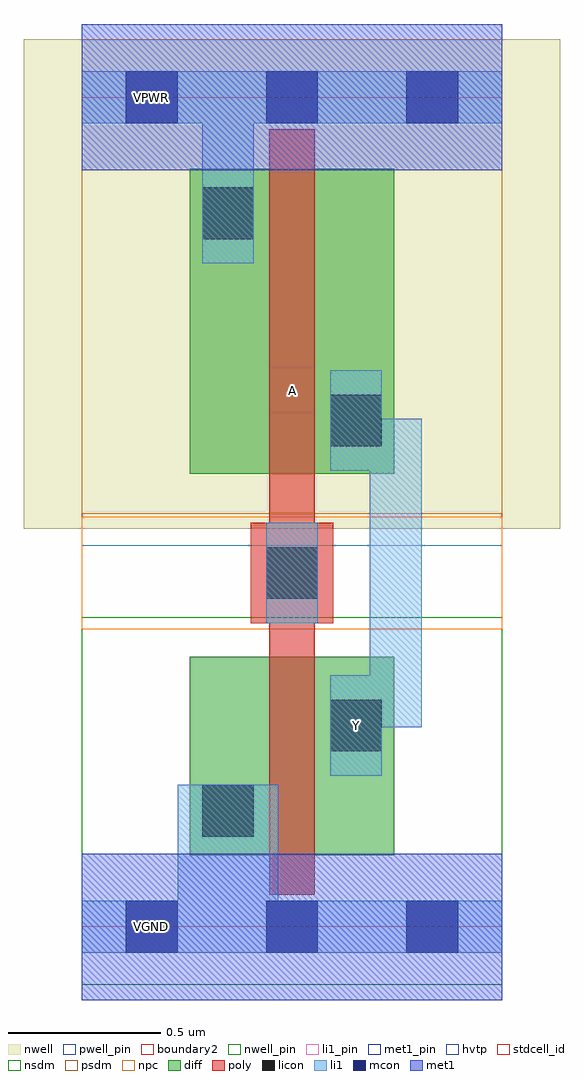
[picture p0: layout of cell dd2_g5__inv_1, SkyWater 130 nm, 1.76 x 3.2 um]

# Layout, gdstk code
import gdstk
lib = gdstk.Library(unit=1e-6, precision=1e-09)
def R(c, l, rs):  # rectangles x0, y0, x1, y1
    for r in rs: c.add(gdstk.rectangle(r[:2], r[2:], *l))
def A(c, l, x, y, w, h, nx, ny, dx, dy):  # array of equal rectangles
    R(c, l, [(x+i*dx, y+j*dy, x+i*dx+w, y+j*dy+h) for i in range(nx) for j in range(ny)])
nwell_pin = (64, 16)
nwell = (64, 20)
diff = (65, 20)
poly = (66, 20)
licon = (66, 44)
li1_pin = (67, 16)
li1 = (67, 20)
mcon = (67, 44)
met1_pin = (68, 16)
met1 = (68, 20)
hvtp = (78, 44)
stdcell_id = (81, 4)
nsdm = (93, 44)
psdm = (94, 20)
npc = (95, 20)
pwell_pin = (122, 16)
boundary2 = (236, 0)

dd2_g5__inv_1 = lib.new_cell('dd2_g5__inv_1')
R(dd2_g5__inv_1, nwell_pin, [(0.145,2.635,0.315,2.805)])
R(dd2_g5__inv_1, nwell, [(-0.19,1.305,1.57,2.91)])
R(dd2_g5__inv_1, diff, [(0.355,0.235,1.025,0.885), (0.355,1.485,1.025,2.485)])
R(dd2_g5__inv_1, poly, [(0.615,0.105,0.765,2.615), (0.555,0.995,0.825,1.325)])
R(dd2_g5__inv_1, licon, [(0.395,0.295,0.565,0.465), (0.815,0.575,0.985,0.745), (0.605,1.075,0.775,1.245), (0.815,1.575,0.985,1.745), (0.395,2.255,0.565,2.425)])
R(dd2_g5__inv_1, li1_pin, [(0.145,-0.085,0.315,0.085), (0.825,0.585,0.975,0.735), (0.615,1.685,0.765,1.835), (0.145,2.635,0.315,2.805)])
R(dd2_g5__inv_1, li1, [(0,-0.085,1.38,0.085), (0.315,0.085,0.645,0.465), (0.815,0.495,0.985,0.655), (0.815,0.655,1.115,0.825), (0.945,0.825,1.115,1.495), (0.605,0.995,0.775,1.325), (0.815,1.495,1.115,1.665), (0.815,1.665,0.985,1.825), (0.395,2.175,0.565,2.635), (0,2.635,1.38,2.805)])
A(dd2_g5__inv_1, mcon, 0.145, -0.085, 0.17, 0.17, 3, 2, 0.46, 2.72)
R(dd2_g5__inv_1, met1_pin, [(0.145,-0.085,0.315,0.085), (0.145,2.635,0.315,2.805)])
R(dd2_g5__inv_1, met1, [(0,-0.24,1.38,0.24), (0,2.48,1.38,2.96)])
R(dd2_g5__inv_1, hvtp, [(0,1.25,1.38,2.72)])
R(dd2_g5__inv_1, stdcell_id, [(0,0,1.38,2.72)])
R(dd2_g5__inv_1, nsdm, [(0,-0.19,1.38,1.015)])
R(dd2_g5__inv_1, psdm, [(0,1.355,1.38,2.91)])
R(dd2_g5__inv_1, npc, [(0,0.975,1.38,1.345)])
R(dd2_g5__inv_1, pwell_pin, [(0.145,-0.085,0.315,0.085)])
R(dd2_g5__inv_1, boundary2, [(0,0,1.38,2.72)])
dd2_g5__inv_1.add(gdstk.Label('VPWR', (0.23,2.72), layer=68, texttype=5))
dd2_g5__inv_1.add(gdstk.Label('VGND', (0.23,0), layer=68, texttype=5))
dd2_g5__inv_1.add(gdstk.Label('A', (0.69,1.76), layer=67, texttype=5))
dd2_g5__inv_1.add(gdstk.Label('VPWR', (0.23,2.72), layer=67, texttype=5))
dd2_g5__inv_1.add(gdstk.Label('VGND', (0.23,0), layer=67, texttype=5))
dd2_g5__inv_1.add(gdstk.Label('Y', (0.9,0.66), layer=67, texttype=5))
dd2_g5__inv_1.add(gdstk.Label('VPB', (0.23,2.72), layer=64, texttype=5))
dd2_g5__inv_1.add(gdstk.Label('VNB', (0.23,0), layer=64, texttype=59))

lib.write_gds('dd2_g5__inv_1.gds')
